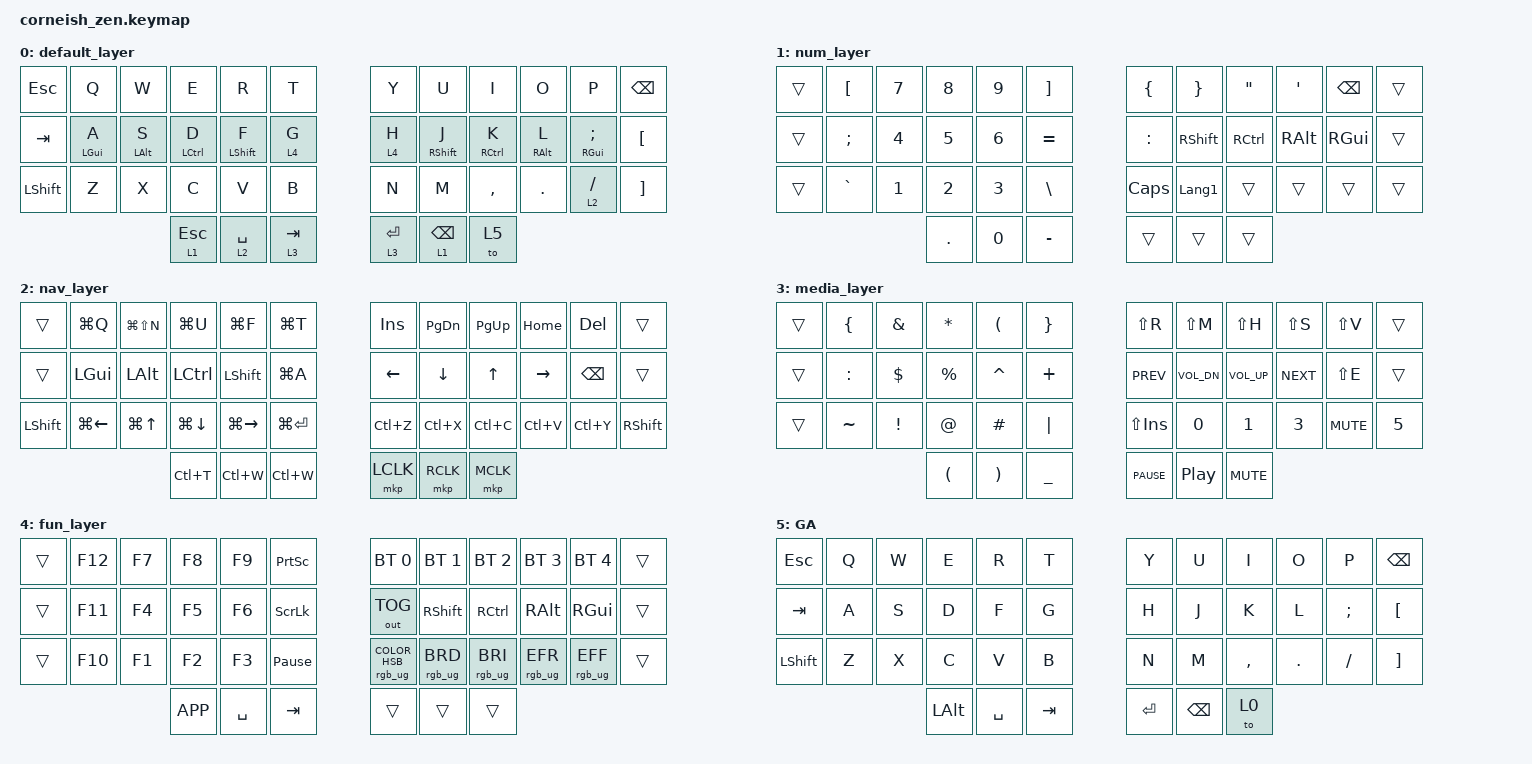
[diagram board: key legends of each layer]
/*
 * Copyright (c) 2020 The ZMK Contributors
 *
 * SPDX-License-Identifier: MIT
 */

#include <dt-bindings/zmk/mouse.h>
#include <behaviors.dtsi>
#include <dt-bindings/zmk/bt.h>
#include <dt-bindings/zmk/keys.h>
#include <dt-bindings/zmk/outputs.h>
#include <dt-bindings/zmk/pointing.h>
#include <dt-bindings/zmk/rgb.h>

#define DEFAULT 0
#define NAV     1
#define MOUSE   2
#define MEDIA   3
#define NUM     4
#define SYM     5
#define FUN     6
#define ADJUST  7

/ {
    behaviors {
        hm: homerow_mods {
            compatible = "zmk,behavior-hold-tap";
            label = "HOMEROW_MODS";
            #binding-cells = <2>;
            tapping-term-ms = <200>;
            quick-tap-ms = <0>;
            flavor = "tap-preferred";
            bindings = <&kp>, <&kp>;
        };
    };

    combos {
        compatible = "zmk,combos";

        bsp {
            bindings = <&kp BACKSPACE>;
            key-positions = <22 21>;
        };

        rbsp {
            bindings = <&kp BACKSPACE>;
            key-positions = <5 4>;
        };

        del {
            bindings = <&kp DEL>;
            key-positions = <2 1>;
        };

        caps {
            bindings = <&kp CAPSLOCK>;
            key-positions = <25 26>;
        };
    };

    macros {
        new_macro: new_macro {
            compatible = "zmk,behavior-macro";
            #binding-cells = <0>;
            bindings = <&none>;
            label = "NEW_MACRO";
        };
    };

    keymap {
        compatible = "zmk,keymap";

        default_layer {
            bindings = <
&kp ESC         &kp Q       &kp W       &kp E        &kp R        &kp T        &kp Y      &kp U        &kp I        &kp O       &kp P               &kp BACKSPACE
&kp TAB         &hm LGUI A  &hm LALT S  &hm LCTRL D  &hm LSHFT F  &lt 4 G      &lt 4 H    &hm RSHFT J  &hm RCTRL K  &hm RALT L  &hm RGUI SEMICOLON  &kp LEFT_BRACKET
&kp LEFT_SHIFT  &kp Z       &kp X       &kp C        &kp V        &kp B        &kp N      &kp M        &kp COMMA    &kp DOT     &lt 2 SLASH         &kp RIGHT_BRACKET
                                        &lt 1 ESC    &lt 2 SPACE  &lt 3 TAB    &lt 3 RET  &lt 1 BSPC   &to 5
            >;
        };

        num_layer {
            bindings = <
&trans  &kp LBKT   &kp N7  &kp N8   &kp N9  &kp RBKT     &kp LEFT_BRACE  &kp RIGHT_BRACE  &kp DOUBLE_QUOTES  &kp SQT   &kp BACKSPACE  &trans
&trans  &kp SEMI   &kp N4  &kp N5   &kp N6  &kp EQUAL    &kp COLON       &kp RSHFT        &kp RCTRL          &kp RALT  &kp RGUI       &trans
&trans  &kp GRAVE  &kp N1  &kp N2   &kp N3  &kp BSLH     &kp CAPS        &kp LANGUAGE_1   &trans             &trans    &trans         &trans
                           &kp DOT  &kp N0  &kp MINUS    &trans          &trans           &trans
            >;
        };

        nav_layer {
            bindings = <
&trans          &kp LG(Q)           &kp LG(LS(N))     &kp LG(U)     &kp LG(F)      &kp LG(T)        &kp INSERT  &kp PAGE_DOWN   &kp PG_UP     &kp HOME   &kp DEL        &trans
&trans          &kp LGUI            &kp LALT          &kp LCTRL     &kp LSHFT      &kp LG(A)        &kp LEFT    &kp DOWN_ARROW  &kp UP_ARROW  &kp RIGHT  &kp BACKSPACE  &trans
&kp LEFT_SHIFT  &kp LG(LEFT_ARROW)  &kp LG(UP_ARROW)  &kp LG(DOWN)  &kp LG(RIGHT)  &kp LG(ENTER)    &kp LC(Z)   &kp LC(X)       &kp LC(C)     &kp LC(V)  &kp LC(Y)      &kp RIGHT_SHIFT
                                                      &kp LC(T)     &kp LC(W)      &kp LC(W)        &mkp LCLK   &mkp RCLK       &mkp MCLK
            >;
        };

        media_layer {
            bindings = <
&trans  &kp LEFT_BRACE  &kp AMPERSAND    &kp ASTERISK          &kp LEFT_PARENTHESIS   &kp RIGHT_BRACE    &kp LS(R)       &kp LS(M)     &kp LS(H)        &kp LS(S)     &kp LS(V)   &trans
&trans  &kp COLON       &kp DOLLAR       &kp PERCENT           &kp CARET              &kp PLUS           &kp K_PREV      &kp C_VOL_DN  &kp C_VOLUME_UP  &kp C_NEXT    &kp LS(E)   &trans
&trans  &kp TILDE       &kp EXCLAMATION  &kp AT_SIGN           &kp HASH               &kp PIPE           &kp LS(INSERT)  &kp NUMBER_0  &kp NUMBER_1     &kp NUMBER_3  &kp C_MUTE  &kp N5
                                         &kp LEFT_PARENTHESIS  &kp RIGHT_PARENTHESIS  &kp UNDERSCORE     &kp C_PAUSE     &kp C_PP      &kp C_MUTE
            >;
        };

        fun_layer {
            bindings = <
&trans  &kp F12  &kp F7  &kp F8     &kp F9     &kp PSCRN          &bt BT_SEL 0                      &bt BT_SEL 1     &bt BT_SEL 2     &bt BT_SEL 3     &bt BT_SEL 4     &trans
&trans  &kp F11  &kp F4  &kp F5     &kp F6     &kp SLCK           &out OUT_TOG                      &kp RSHFT        &kp RCTRL        &kp RALT         &kp RGUI         &trans
&trans  &kp F10  &kp F1  &kp F2     &kp F3     &kp PAUSE_BREAK    &rgb_ug RGB_COLOR_HSB(20,100,50)  &rgb_ug RGB_BRD  &rgb_ug RGB_BRI  &rgb_ug RGB_EFR  &rgb_ug RGB_EFF  &trans
                         &kp K_APP  &kp SPACE  &kp TAB            &trans                            &trans           &trans
            >;
        };

        GA {
            bindings = <
&kp ESC    &kp Q  &kp W  &kp E     &kp R      &kp T      &kp Y      &kp U          &kp I      &kp O    &kp P     &kp BSPC
&kp TAB    &kp A  &kp S  &kp D     &kp F      &kp G      &kp H      &kp J          &kp K      &kp L    &kp SEMI  &kp LBKT
&kp LSHFT  &kp Z  &kp X  &kp C     &kp V      &kp B      &kp N      &kp M          &kp COMMA  &kp DOT  &kp FSLH  &kp RBKT
                         &kp LALT  &kp SPACE  &kp TAB    &kp ENTER  &kp BACKSPACE  &to 0
            >;
        };
    };
};
